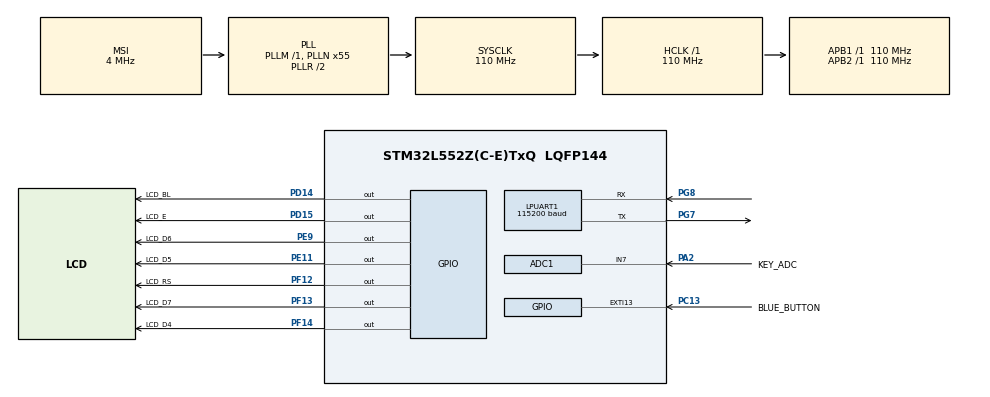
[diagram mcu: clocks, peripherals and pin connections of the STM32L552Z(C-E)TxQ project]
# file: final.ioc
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ADC1.Channel-1\#ChannelRegularConversion=ADC_CHANNEL_7
ADC1.NbrOfConversionFlag=1
ADC1.OffsetNumber-1\#ChannelRegularConversion=ADC_OFFSET_NONE
ADC1.Rank-1\#ChannelRegularConversion=1
ADC1.SamplingTime-1\#ChannelRegularConversion=ADC_SAMPLETIME_640CYCLES_5
ADC1.master=1
LPUART1.BaudRate=115200
Mcu.Family=STM32L5
Mcu.Name=STM32L552Z(C-E)TxQ
Mcu.Package=LQFP144
Mcu.TrustZone=disable
NVIC.EXTI13_IRQn=true\:0\:0\:true\:false\:true\:true\:true\:true
NVIC.LPUART1_IRQn=true\:1\:0\:true\:false\:true\:true\:true\:true
NVIC.PriorityGroup=NVIC_PRIORITYGROUP_3
PA13\ (JTMS/SWDIO).Signal=DEBUG_JTMS-SWDIO
PA14\ (JTCK/SWCLK).Signal=DEBUG_JTCK-SWCLK
PA2.GPIO_Label=KEY_ADC
PA2.Signal=ADCx_IN7
PB3\ (JTDO/TRACESWO).Signal=DEBUG_JTDO-SWO
PC13.GPIO_Label=BLUE_BUTTON
PC13.GPIO_ModeDefaultEXTI=GPIO_MODE_IT_RISING_FALLING
PC13.Signal=GPXTI13
PC14-OSC32_IN\ (PC14).Signal=RCC_OSC32_IN
PC15-OSC32_OUT\ (PC15).Signal=RCC_OSC32_OUT
PD14.GPIO_Label=LCD_BL
PD14.Signal=GPIO_Output
PD15.GPIO_Label=LCD_E
PD15.Signal=GPIO_Output
PE11.GPIO_Label=LCD_D5
PE11.Signal=GPIO_Output
PE9.GPIO_Label=LCD_D6
PE9.Signal=GPIO_Output
PF12.GPIO_Label=LCD_RS
PF12.Signal=GPIO_Output
PF13.GPIO_Label=LCD_D7
PF13.Signal=GPIO_Output
PF14.GPIO_Label=LCD_D4
PF14.Signal=GPIO_Output
PG7.Mode=Asynchronous
PG7.Signal=LPUART1_TX
PG8.Mode=Asynchronous
PG8.Signal=LPUART1_RX
ProjectManager.HeapSize=0x200
ProjectManager.StackSize=0x400
ProjectManager.TargetToolchain=STM32CubeIDE
RCC.ADCCLockSelection=RCC_ADCCLKSOURCE_SYSCLK
RCC.ADCFreq_Value=110000000
RCC.AHBFreq_Value=110000000
RCC.APB1Freq_Value=110000000
RCC.APB1TimFreq_Value=110000000
RCC.APB2Freq_Value=110000000
RCC.APB2TimFreq_Value=110000000
RCC.CK48CLockSelection=RCC_USBCLKSOURCE_HSI48
RCC.CortexFreq_Value=110000000
RCC.HCLKFreq_Value=110000000
RCC.HSE_VALUE=8000000
RCC.HSI48_VALUE=48000000
RCC.HSI_VALUE=16000000
RCC.LSE_VALUE=32768
RCC.MSI_VALUE=4000000
RCC.PLLN=55
RCC.PLLSAI1N=24
RCC.RTCClockSelection=RCC_RTCCLKSOURCE_LSE
RCC.SYSCLKFreq_VALUE=110000000
RCC.SYSCLKSource=RCC_SYSCLKSOURCE_PLLCLK
RCC.USBFreq_Value=48000000
RCC.VCOOutputFreq_Value=220000000
SH.ADCx_IN7.0=ADC1_IN7,IN7-Single-Ended
TIM2.Period=4294967295
TIM2.Prescaler=11000-1
VP_ICACHE_VS_ICACHE.Mode=DirectMappedCache
VP_PWR_VS_DBSignals.Mode=DisableDeadBatterySignals
VP_PWR_VS_SECSignals.Mode=Security/Privilege
VP_TIM2_VS_ClockSourceINT.Mode=Internal
board=NUCLEO-L552ZE-Q

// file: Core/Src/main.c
/* USER CODE BEGIN Header */
/**
  ******************************************************************************
  * @file           : main.c
  * @brief          : Main program body
  ******************************************************************************
  * @attention
  *
  * Copyright (c) 2026 STMicroelectronics.
  * All rights reserved.
  *
  * This software is licensed under terms that can be found in the LICENSE file
  * in the root directory of this software component.
  * If no LICENSE file comes with this software, it is provided AS-IS.
  *
  ******************************************************************************
  */
/* USER CODE END Header */
#include "main.h"

/* USER CODE BEGIN Includes */
#include <stdio.h>
#include <stdlib.h>
#include "lcd.h"
/* USER CODE END Includes */

/* USER CODE BEGIN PTD */
typedef enum { WAIT, DELAY, RESULT, TOO_SOON } State;
/* USER CODE END PTD */

/* USER CODE BEGIN PD */
#define MAX 16
/* USER CODE END PD */

ADC_HandleTypeDef hadc1;

UART_HandleTypeDef hlpuart1;

TIM_HandleTypeDef htim2;

/* USER CODE BEGIN PV */

volatile State currentState = WAIT;
volatile uint8_t isPresed = 0;
char timeStr[MAX] = {0};
char tryStr[MAX] = {0};

volatile uint32_t pressMesureTime =0;
volatile uint8_t shortPressDetected =0;
volatile uint8_t longPressDetected =0;
volatile uint8_t isRecived = 0;
uint8_t ch = 0;

const char waitStr[] = "WAIT";
const char resultStr[] = "RESULT";
/* USER CODE END PV */

void SystemClock_Config(void);
static void MX_GPIO_Init(void);
static void MX_ICACHE_Init(void);
static void MX_ADC1_Init(void);
static void MX_LPUART1_UART_Init(void);
static void MX_TIM2_Init(void);
/* USER CODE BEGIN PFP */
uint32_t getDelta(uint32_t startTime);
void RenderLCDResult(uint32_t lastRT);
void RenderTries(uint16_t trialCount);
uint8_t checkUPButton(void);
static uint16_t ADC_ReadOnce(void);

const char* getState(State currState);
/* USER CODE END PFP */

int main(void)
{

  /* MCU Configuration--------------------------------------------------------*/

  /* Reset of all peripherals, Initializes the Flash interface and the Systick. */
  HAL_Init();

  /* Configure the system clock */
  SystemClock_Config();

  /* Initialize all configured peripherals */
  MX_GPIO_Init();
  MX_ICACHE_Init();
  MX_ADC1_Init();
  MX_LPUART1_UART_Init();
  MX_TIM2_Init();
  /* USER CODE BEGIN 2 */
  LCD_Init();
  HAL_TIM_Base_Start(&htim2);

  srand(__HAL_TIM_GET_COUNTER(&htim2));

  uint32_t entryTime = 0;
  uint32_t reactionStartTime = 0;
  uint16_t trialCount = 0;
  uint32_t lastRT = 0;
  uint32_t bestRT = 9999999;
  uint16_t randomDelay = 0;

  uint8_t upButtonPressed = 0;
  uint8_t isResultShown = 0;

  LCD_PrintAt(0, 0, "preess up");
  printf("test\r\n");

  /* USER CODE END 2 */

  /* Infinite loop */
  /* USER CODE BEGIN WHILE */
  while (1)
  {
	  upButtonPressed = checkUPButton();

	  if(isRecived)
	  {
		  isRecived = 0;

		  if(ch != '\n' && ch != '\r')
			  HAL_UART_Transmit(&hlpuart1, &ch ,1, HAL_MAX_DELAY);

		  if(ch == 's' || ch == 'S')
			  printf("\r\nSTS %s %u %lu \r\n", getState(currentState), trialCount, bestRT);
	  }

	  switch (currentState) {
		  case WAIT:
			  upButtonPressed = 0;
			  randomDelay = (rand() % 4000) + 1000;
			  entryTime = __HAL_TIM_GET_COUNTER(&htim2);

			  LCD_PrintAt(0, 0, "WAIT...       ");
			  currentState = DELAY;
			  break;

		  case DELAY:

			  if (getDelta(entryTime) >= randomDelay)
			  {
				  reactionStartTime = __HAL_TIM_GET_COUNTER(&htim2);
				  LCD_PrintAt(0, 0, "PRESS!     ");

				  if (shortPressDetected)
				  {
					  shortPressDetected = 0;
					  trialCount++;
					  currentState = RESULT;
					  isResultShown = 0;
				  }

			  }
			  else if (shortPressDetected)
			  {
				  shortPressDetected = 0;
				  entryTime = __HAL_TIM_GET_COUNTER(&htim2);
				  currentState = TOO_SOON;
				  trialCount++;

			  }
			  /*else if (getDelta(entryTime) >= randomDelay)
			  {
				  reactionStartTime = __HAL_TIM_GET_COUNTER(&htim2);
				  LCD_PrintAt(0, 0, "PRESS!     ");

				  if (shortPressDetected)
				  {
					  trialCount++;
					  currentState = RESULT;
					  isResultShown = 0;
				  }

			  }*/
			  break;
		  case TOO_SOON:
			  LCD_PrintAt(0, 0, "TOO SOON!  ");
			  if (getDelta(entryTime) >= 500)
			  {
				  currentState = WAIT;
			  }
			  break;
		  case RESULT:
			  if (!isResultShown)
			  {
				  isResultShown = 1;
				  uint32_t endTime = __HAL_TIM_GET_COUNTER(&htim2);
				  lastRT = (endTime - reactionStartTime) / 10;
				  if (lastRT < bestRT)
					  bestRT = lastRT;

				  RenderLCDResult(lastRT);
				  //Send_UART_Status("RESULT", trialCount, bestRT);
			  }

			  if (upButtonPressed)
			  {
				  upButtonPressed = 0;
				  isResultShown = 0;
				  currentState = WAIT;
			  }
			  break;
	  }

	  RenderTries(trialCount);

	  if (longPressDetected)
	  {
		  longPressDetected = 0;
		  trialCount = 0;
		  lastRT = 0;
		  bestRT = 0;
		  currentState = WAIT;
	  }

	  HAL_UART_Receive_IT(&hlpuart1, &ch, 1);
    /* USER CODE END WHILE */

  }
}

void SystemClock_Config(void)
{
  RCC_OscInitTypeDef RCC_OscInitStruct = {0};
  RCC_ClkInitTypeDef RCC_ClkInitStruct = {0};

  /** Configure the main internal regulator output voltage
  */
  if (HAL_PWREx_ControlVoltageScaling(PWR_REGULATOR_VOLTAGE_SCALE0) != HAL_OK)
  {
    Error_Handler();
  }

  /** Initializes the RCC Oscillators according to the specified parameters
  * in the RCC_OscInitTypeDef structure.
  */
  RCC_OscInitStruct.OscillatorType = RCC_OSCILLATORTYPE_MSI;
  RCC_OscInitStruct.MSIState = RCC_MSI_ON;
  RCC_OscInitStruct.MSICalibrationValue = RCC_MSICALIBRATION_DEFAULT;
  RCC_OscInitStruct.MSIClockRange = RCC_MSIRANGE_6;
  RCC_OscInitStruct.PLL.PLLState = RCC_PLL_ON;
  RCC_OscInitStruct.PLL.PLLSource = RCC_PLLSOURCE_MSI;
  RCC_OscInitStruct.PLL.PLLM = 1;
  RCC_OscInitStruct.PLL.PLLN = 55;
  RCC_OscInitStruct.PLL.PLLP = RCC_PLLP_DIV7;
  RCC_OscInitStruct.PLL.PLLQ = RCC_PLLQ_DIV2;
  RCC_OscInitStruct.PLL.PLLR = RCC_PLLR_DIV2;
  if (HAL_RCC_OscConfig(&RCC_OscInitStruct) != HAL_OK)
  {
    Error_Handler();
  }

  /** Initializes the CPU, AHB and APB buses clocks
  */
  RCC_ClkInitStruct.ClockType = RCC_CLOCKTYPE_HCLK|RCC_CLOCKTYPE_SYSCLK
                              |RCC_CLOCKTYPE_PCLK1|RCC_CLOCKTYPE_PCLK2;
  RCC_ClkInitStruct.SYSCLKSource = RCC_SYSCLKSOURCE_PLLCLK;
  RCC_ClkInitStruct.AHBCLKDivider = RCC_SYSCLK_DIV1;
  RCC_ClkInitStruct.APB1CLKDivider = RCC_HCLK_DIV1;
  RCC_ClkInitStruct.APB2CLKDivider = RCC_HCLK_DIV1;

  if (HAL_RCC_ClockConfig(&RCC_ClkInitStruct, FLASH_LATENCY_5) != HAL_OK)
  {
    Error_Handler();
  }
}

static void MX_ADC1_Init(void)
{

  ADC_MultiModeTypeDef multimode = {0};
  ADC_ChannelConfTypeDef sConfig = {0};

  /** Common config
  */
  hadc1.Instance = ADC1;
  hadc1.Init.ClockPrescaler = ADC_CLOCK_ASYNC_DIV1;
  hadc1.Init.Resolution = ADC_RESOLUTION_12B;
  hadc1.Init.DataAlign = ADC_DATAALIGN_RIGHT;
  hadc1.Init.ScanConvMode = ADC_SCAN_DISABLE;
  hadc1.Init.EOCSelection = ADC_EOC_SINGLE_CONV;
  hadc1.Init.LowPowerAutoWait = DISABLE;
  hadc1.Init.ContinuousConvMode = DISABLE;
  hadc1.Init.NbrOfConversion = 1;
  hadc1.Init.DiscontinuousConvMode = DISABLE;
  hadc1.Init.ExternalTrigConv = ADC_SOFTWARE_START;
  hadc1.Init.ExternalTrigConvEdge = ADC_EXTERNALTRIGCONVEDGE_NONE;
  hadc1.Init.DMAContinuousRequests = DISABLE;
  hadc1.Init.Overrun = ADC_OVR_DATA_PRESERVED;
  hadc1.Init.OversamplingMode = DISABLE;
  if (HAL_ADC_Init(&hadc1) != HAL_OK)
  {
    Error_Handler();
  }

  /** Configure the ADC multi-mode
  */
  multimode.Mode = ADC_MODE_INDEPENDENT;
  if (HAL_ADCEx_MultiModeConfigChannel(&hadc1, &multimode) != HAL_OK)
  {
    Error_Handler();
  }

  /** Configure Regular Channel
  */
  sConfig.Channel = ADC_CHANNEL_7;
  sConfig.Rank = ADC_REGULAR_RANK_1;
  sConfig.SamplingTime = ADC_SAMPLETIME_640CYCLES_5;
  sConfig.SingleDiff = ADC_SINGLE_ENDED;
  sConfig.OffsetNumber = ADC_OFFSET_NONE;
  sConfig.Offset = 0;
  if (HAL_ADC_ConfigChannel(&hadc1, &sConfig) != HAL_OK)
  {
    Error_Handler();
  }

}

static void MX_ICACHE_Init(void)
{

  /** Enable instruction cache in 1-way (direct mapped cache)
  */
  if (HAL_ICACHE_ConfigAssociativityMode(ICACHE_1WAY) != HAL_OK)
  {
    Error_Handler();
  }
  if (HAL_ICACHE_Enable() != HAL_OK)
  {
    Error_Handler();
  }

}

static void MX_LPUART1_UART_Init(void)
{

  hlpuart1.Instance = LPUART1;
  hlpuart1.Init.BaudRate = 115200;
  hlpuart1.Init.WordLength = UART_WORDLENGTH_8B;
  hlpuart1.Init.StopBits = UART_STOPBITS_1;
  hlpuart1.Init.Parity = UART_PARITY_NONE;
  hlpuart1.Init.Mode = UART_MODE_TX_RX;
  hlpuart1.Init.HwFlowCtl = UART_HWCONTROL_NONE;
  hlpuart1.Init.OneBitSampling = UART_ONE_BIT_SAMPLE_DISABLE;
  hlpuart1.Init.ClockPrescaler = UART_PRESCALER_DIV1;
  hlpuart1.AdvancedInit.AdvFeatureInit = UART_ADVFEATURE_NO_INIT;
  hlpuart1.FifoMode = UART_FIFOMODE_DISABLE;
  if (HAL_UART_Init(&hlpuart1) != HAL_OK)
  {
    Error_Handler();
  }
  if (HAL_UARTEx_SetTxFifoThreshold(&hlpuart1, UART_TXFIFO_THRESHOLD_1_8) != HAL_OK)
  {
    Error_Handler();
  }
  if (HAL_UARTEx_SetRxFifoThreshold(&hlpuart1, UART_RXFIFO_THRESHOLD_1_8) != HAL_OK)
  {
    Error_Handler();
  }
  if (HAL_UARTEx_DisableFifoMode(&hlpuart1) != HAL_OK)
  {
    Error_Handler();
  }

}

static void MX_TIM2_Init(void)
{

  TIM_ClockConfigTypeDef sClockSourceConfig = {0};
  TIM_MasterConfigTypeDef sMasterConfig = {0};

  htim2.Instance = TIM2;
  htim2.Init.Prescaler = 11000-1;
  htim2.Init.CounterMode = TIM_COUNTERMODE_UP;
  htim2.Init.Period = 4294967295;
  htim2.Init.ClockDivision = TIM_CLOCKDIVISION_DIV1;
  htim2.Init.AutoReloadPreload = TIM_AUTORELOAD_PRELOAD_DISABLE;
  if (HAL_TIM_Base_Init(&htim2) != HAL_OK)
  {
    Error_Handler();
  }
  sClockSourceConfig.ClockSource = TIM_CLOCKSOURCE_INTERNAL;
  if (HAL_TIM_ConfigClockSource(&htim2, &sClockSourceConfig) != HAL_OK)
  {
    Error_Handler();
  }
  sMasterConfig.MasterOutputTrigger = TIM_TRGO_RESET;
  sMasterConfig.MasterSlaveMode = TIM_MASTERSLAVEMODE_DISABLE;
  if (HAL_TIMEx_MasterConfigSynchronization(&htim2, &sMasterConfig) != HAL_OK)
  {
    Error_Handler();
  }

}

static void MX_GPIO_Init(void)
{
  GPIO_InitTypeDef GPIO_InitStruct = {0};

  /* GPIO Ports Clock Enable */
  __HAL_RCC_GPIOC_CLK_ENABLE();
  __HAL_RCC_GPIOA_CLK_ENABLE();
  __HAL_RCC_GPIOF_CLK_ENABLE();
  __HAL_RCC_GPIOE_CLK_ENABLE();
  __HAL_RCC_GPIOD_CLK_ENABLE();
  __HAL_RCC_GPIOG_CLK_ENABLE();
  HAL_PWREx_EnableVddIO2();
  __HAL_RCC_GPIOB_CLK_ENABLE();

  /*Configure GPIO pin Output Level */
  HAL_GPIO_WritePin(GPIOF, LCD_RS_Pin|LCD_D7_Pin|LCD_D4_Pin, GPIO_PIN_RESET);

  /*Configure GPIO pin Output Level */
  HAL_GPIO_WritePin(GPIOE, LCD_D6_Pin|LCD_D5_Pin, GPIO_PIN_RESET);

  /*Configure GPIO pin Output Level */
  HAL_GPIO_WritePin(GPIOD, LCD_BL_Pin|LCD_E_Pin, GPIO_PIN_RESET);

  /*Configure GPIO pin : BLUE_BUTTON_Pin */
  GPIO_InitStruct.Pin = BLUE_BUTTON_Pin;
  GPIO_InitStruct.Mode = GPIO_MODE_IT_RISING_FALLING;
  GPIO_InitStruct.Pull = GPIO_NOPULL;
  HAL_GPIO_Init(BLUE_BUTTON_GPIO_Port, &GPIO_InitStruct);

  /*Configure GPIO pins : LCD_RS_Pin LCD_D7_Pin LCD_D4_Pin */
  GPIO_InitStruct.Pin = LCD_RS_Pin|LCD_D7_Pin|LCD_D4_Pin;
  GPIO_InitStruct.Mode = GPIO_MODE_OUTPUT_PP;
  GPIO_InitStruct.Pull = GPIO_NOPULL;
  GPIO_InitStruct.Speed = GPIO_SPEED_FREQ_LOW;
  HAL_GPIO_Init(GPIOF, &GPIO_InitStruct);

  /*Configure GPIO pins : LCD_D6_Pin LCD_D5_Pin */
  GPIO_InitStruct.Pin = LCD_D6_Pin|LCD_D5_Pin;
  GPIO_InitStruct.Mode = GPIO_MODE_OUTPUT_PP;
  GPIO_InitStruct.Pull = GPIO_NOPULL;
  GPIO_InitStruct.Speed = GPIO_SPEED_FREQ_LOW;
  HAL_GPIO_Init(GPIOE, &GPIO_InitStruct);

  /*Configure GPIO pins : LCD_BL_Pin LCD_E_Pin */
  GPIO_InitStruct.Pin = LCD_BL_Pin|LCD_E_Pin;
  GPIO_InitStruct.Mode = GPIO_MODE_OUTPUT_PP;
  GPIO_InitStruct.Pull = GPIO_NOPULL;
  GPIO_InitStruct.Speed = GPIO_SPEED_FREQ_LOW;
  HAL_GPIO_Init(GPIOD, &GPIO_InitStruct);

  /* EXTI interrupt init*/
  HAL_NVIC_SetPriority(EXTI13_IRQn, 0, 0);
  HAL_NVIC_EnableIRQ(EXTI13_IRQn);

}

/* USER CODE BEGIN 4 */

const char* getState(State currState)
{
	return (currState == RESULT) ? resultStr : waitStr;
}

void HAL_UART_RxCpltCallback(UART_HandleTypeDef *huart)
{
	if(huart->Instance == LPUART1)
	{
		isRecived = 1;
	}
}

int _write(int file, char *ptr, int len)
{
	HAL_UART_Transmit(&hlpuart1, (uint8_t*)ptr, len, HAL_MAX_DELAY);
	return len;
}

uint32_t getDelta(uint32_t startTime)
{
	  return (__HAL_TIM_GET_COUNTER(&htim2) - startTime)/10;
}

void RenderLCDResult(uint32_t lastRT)
{
	  snprintf(timeStr, MAX, "RT: %-10lu", lastRT);
	  LCD_PrintAt(0, 0, timeStr);
}

void RenderTries(uint16_t trialCount)
{
	  snprintf(tryStr, MAX, "TRY: %-10u", trialCount);
	  LCD_PrintAt(0, 1, tryStr);
}

void HAL_GPIO_EXTI_Falling_Callback(uint16_t GPIO_Pin) {
    if (GPIO_Pin == GPIO_PIN_13) {
    	uint32_t riseTime = __HAL_TIM_GET_COUNTER(&htim2);
		uint32_t duration = (riseTime - pressMesureTime) / 10; // Convert 0.1ms to 1ms

		if (duration >= 500) {
			longPressDetected = 1;
		} else {
			shortPressDetected = 1;
		}
    }
}

void HAL_GPIO_EXTI_Rising_Callback(uint16_t GPIO_Pin) {
    if (GPIO_Pin == GPIO_PIN_13) {
        pressMesureTime = __HAL_TIM_GET_COUNTER(&htim2);
    }
}

static uint16_t ADC_ReadOnce(void)
{
	uint16_t value = 0;
	if (HAL_ADC_Start(&hadc1) == HAL_OK)
	{
		if (HAL_ADC_PollForConversion(&hadc1, 10) == HAL_OK)
		{
			value = (uint16_t)HAL_ADC_GetValue(&hadc1);
		}
		(void)HAL_ADC_Stop(&hadc1);
	}
	return value;
}

uint8_t checkUPButton(void)
{
    static uint8_t upWasPressed = 0;

    uint32_t adcValue = ADC_ReadOnce();

    uint8_t isCurrentlyUp = (adcValue > 400 && adcValue < 1100);

    if (isCurrentlyUp && !upWasPressed)
    {
        upWasPressed = 1;
        return 1;
    }
    else if (!isCurrentlyUp)
    {
        upWasPressed = 0;
    }

    return 0;
}

/* USER CODE END 4 */

void Error_Handler(void)
{
  __disable_irq();
  while (1)
  {
  }
}
